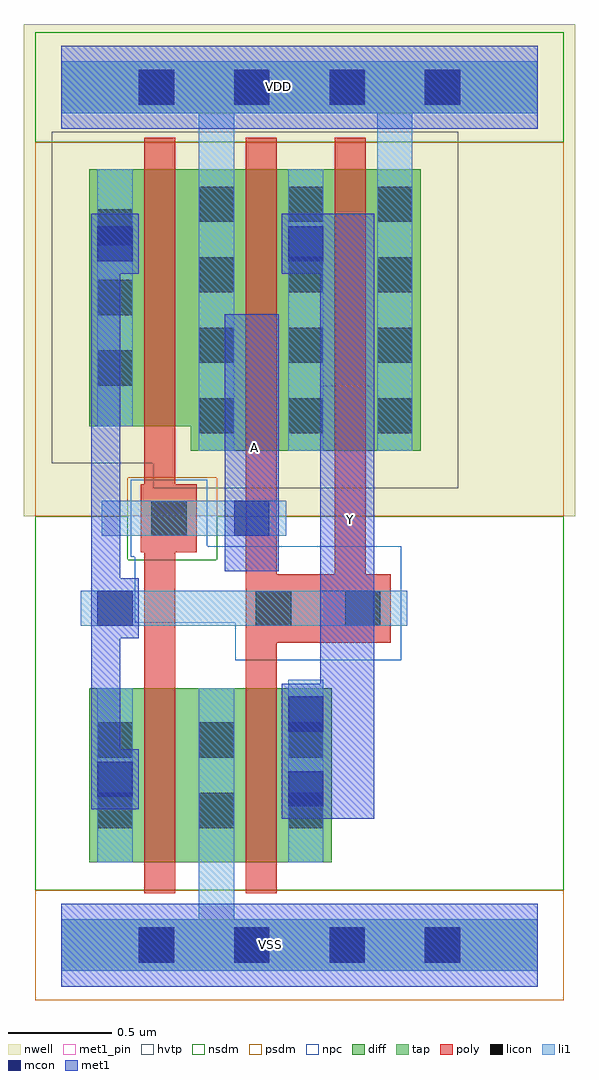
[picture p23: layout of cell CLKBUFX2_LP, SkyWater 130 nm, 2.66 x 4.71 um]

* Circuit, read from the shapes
.subckt CLKBUFX2_LP A VDD VSS Y
XM1 VSS A n1 VSS sky130_fd_pr__nfet_01v8 w=0.84 l=0.15
XM2 Y n1 VSS VSS sky130_fd_pr__nfet_01v8 w=0.84 l=0.15
XM3 VDD A n1 VDD sky130_fd_pr__pfet_01v8_hvt w=1.24 l=0.15
XM4 Y n1 VDD VDD sky130_fd_pr__pfet_01v8_hvt w=1.36 l=0.15 m=2
.ends

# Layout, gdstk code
from math import pi, radians
import gdstk
lib = gdstk.Library(unit=1e-6, precision=1e-09)
def R(c, l, rs):  # rectangles x0, y0, x1, y1
    for r in rs: c.add(gdstk.rectangle(r[:2], r[2:], *l))
def A(c, l, x, y, w, h, nx, ny, dx, dy):  # array of equal rectangles
    R(c, l, [(x+i*dx, y+j*dy, x+i*dx+w, y+j*dy+h) for i in range(nx) for j in range(ny)])
def P(c, l, *ps):  # polygons
    for p in ps: c.add(gdstk.Polygon(p, *l))
nwell = (64, 20)
diff = (65, 20)
tap = (65, 44)
poly = (66, 20)
licon = (66, 44)
li1 = (67, 20)
mcon = (67, 44)
met1_pin = (68, 16)
met1 = (68, 20)
hvtp = (78, 44)
nsdm = (93, 44)
psdm = (94, 20)
npc = (95, 20)

pyl1con_c_cdns_750721840 = lib.new_cell('PYL1CON_C_CDNS_750721840972')
R(pyl1con_c_cdns_750721840, poly, [(-0.135,-0.165,0.135,0.165)])
R(pyl1con_c_cdns_750721840, licon, [(-0.085,-0.085,0.085,0.085)])
R(pyl1con_c_cdns_750721840, npc, [(-0.185,-0.185,0.185,0.185)])

l1m1_c_cdns_750721840975 = lib.new_cell('L1M1_C_CDNS_750721840975')
R(l1m1_c_cdns_750721840975, li1, [(-0.085,-0.345,0.085,0.345)])
R(l1m1_c_cdns_750721840975, mcon, [(-0.085,-0.265,0.085,-0.095), (-0.085,0.095,0.085,0.265)])
R(l1m1_c_cdns_750721840975, met1, [(-0.115,-0.325,0.115,0.325)])

l1m1_c_cdns_750721840971 = lib.new_cell('L1M1_C_CDNS_750721840971')
R(l1m1_c_cdns_750721840971, li1, [(-0.085,-0.165,0.085,0.165)])
R(l1m1_c_cdns_750721840971, mcon, [(-0.085,-0.085,0.085,0.085)])
R(l1m1_c_cdns_750721840971, met1, [(-0.115,-0.145,0.115,0.145)])

l1m1_c_cdns_750721840973 = lib.new_cell('L1M1_C_CDNS_750721840973')
R(l1m1_c_cdns_750721840973, li1, [(-0.165,-0.085,0.165,0.085)])
R(l1m1_c_cdns_750721840973, mcon, [(-0.085,-0.085,0.085,0.085)])
R(l1m1_c_cdns_750721840973, met1, [(-0.115,-0.145,0.115,0.145)])

c_l1m1_c_cdns_750721840971 = lib.new_cell('L1M1_C_CDNS_7507218409714')
R(c_l1m1_c_cdns_750721840971, li1, [(-0.115,-0.165,0.055,0.165)])
R(c_l1m1_c_cdns_750721840971, mcon, [(-0.115,-0.085,0.055,0.085)])
R(c_l1m1_c_cdns_750721840971, met1, [(-0.145,-0.145,0.085,0.145)])

clkbufx2_lp = lib.new_cell('CLKBUFX2_LP')
R(clkbufx2_lp, nwell, [(-0.18,2.07,2.48,4.305), (0.445,2.205,1.915,3.925), (-0.045,2.325,0.805,3.925), (-0.18,3.875,2.48,4.445)])
R(clkbufx2_lp, diff, [(0.135,0.4,0.4,1.24), (0.4,0.4,0.55,1.24), (0.55,0.4,0.625,1.24), (0.625,0.4,0.89,1.24), (0.89,0.4,1.04,1.24), (1.04,0.4,1.305,1.24), (0.625,2.385,0.89,3.745), (0.89,2.385,1.04,3.745), (1.04,2.385,1.32,3.745), (1.32,2.385,1.47,3.745), (1.47,2.385,1.735,3.745), (0.135,2.505,0.4,3.745), (0.4,2.505,0.55,3.745), (0.55,2.505,0.625,3.745)])
R(clkbufx2_lp, poly, [(0.4,0.25,0.55,0.305), (0.89,0.25,1.04,0.305), (0.4,0.305,0.55,0.4), (0.89,0.305,1.04,0.4), (0.4,0.4,0.55,1.24), (0.89,0.4,1.04,1.24), (0.89,1.46,1.59,1.79), (0.89,2.235,1.04,2.29), (1.32,2.235,1.47,2.29), (0.89,2.29,1.04,2.385), (1.32,2.29,1.47,2.385), (0.4,2.355,0.55,2.41), (0.89,2.385,1.04,3.745), (1.32,2.385,1.47,3.745), (0.4,2.41,0.55,2.505), (0.4,2.505,0.55,3.745), (0.4,3.745,0.55,3.84), (0.89,3.745,1.04,3.84), (1.32,3.745,1.47,3.84), (0.4,3.84,0.55,3.895), (0.89,3.84,1.04,3.895), (1.32,3.84,1.47,3.895)])
A(clkbufx2_lp, licon, 0.665, 2.47, 0.17, 0.17, 3, 4, 0.43, 0.34)
A(clkbufx2_lp, licon, 0.175, 2.7, 0.17, 0.17, 1, 3, 0, 0.34)
R(clkbufx2_lp, licon, [(0.375,-0.085,0.545,0.085), (0.375,-0.085,0.545,0.085), (0.835,-0.085,1.005,0.085), (0.835,-0.085,1.005,0.085), (1.295,-0.085,1.465,0.085), (1.295,-0.085,1.465,0.085), (1.755,-0.085,1.925,0.085), (1.755,-0.085,1.925,0.085), (0.175,0.565,0.345,0.735), (0.665,0.565,0.835,0.735), (1.095,0.565,1.265,0.735), (0.175,0.905,0.345,1.075), (0.665,0.905,0.835,1.075), (1.095,0.905,1.265,1.075), (0.375,4.055,0.545,4.225), (0.375,4.055,0.545,4.225), (0.835,4.055,1.005,4.225), (0.835,4.055,1.005,4.225), (1.295,4.055,1.465,4.225), (1.295,4.055,1.465,4.225), (1.755,4.055,1.925,4.225), (1.755,4.055,1.925,4.225)])
A(clkbufx2_lp, li1, 0.665, 2.385, 0.17, 1.36, 3, 1, 0.43, 0)
R(clkbufx2_lp, li1, [(0.175,0.4,0.345,1.24), (0.665,0.4,0.835,1.24), (1.095,0.4,1.265,1.24), (0.175,2.505,0.345,3.745)])
R(clkbufx2_lp, mcon, [(0.375,-0.085,0.545,0.085), (0.375,-0.085,0.545,0.085), (0.835,-0.085,1.005,0.085), (0.835,-0.085,1.005,0.085), (1.295,-0.085,1.465,0.085), (1.295,-0.085,1.465,0.085), (1.755,-0.085,1.925,0.085), (1.755,-0.085,1.925,0.085), (0.375,4.055,0.545,4.225), (0.375,4.055,0.545,4.225), (0.835,4.055,1.005,4.225), (0.835,4.055,1.005,4.225), (1.295,4.055,1.465,4.225), (1.295,4.055,1.465,4.225), (1.755,4.055,1.925,4.225), (1.755,4.055,1.925,4.225)])
R(clkbufx2_lp, met1_pin, [(1.25,1.46,1.51,2.7), (0.79,1.805,1.05,3.045)])
R(clkbufx2_lp, hvtp, [(0.445,2.205,1.915,3.925), (-0.045,2.325,0.805,3.925)])
R(clkbufx2_lp, nsdm, [(-0.005,0.27,0.505,1.37), (0.485,0.27,1.445,1.37), (-0.125,3.875,2.425,4.405), (-0.125,3.875,2.425,4.405), (-0.125,3.93,2.425,4.35), (-0.125,3.93,2.425,4.35)])
P(clkbufx2_lp, nsdm, [(2.425,2.07),(0.75,2.07),(0.75,1.86),(0.32,1.86),(0.32,2.07),(-0.125,2.07),(-0.125,0.265),(2.425,0.265)])
R(clkbufx2_lp, psdm, [(-0.125,-0.265,2.425,0.265), (-0.125,-0.21,2.425,0.21), (0.485,2.255,1.875,3.875), (-0.005,2.375,0.505,3.875)])
P(clkbufx2_lp, psdm, [(2.425,3.875),(-0.125,3.875),(-0.125,2.07),(0.32,2.07),(0.32,2.255),(0.75,2.255),(0.75,2.07),(2.425,2.07)])
R(clkbufx2_lp, npc, [(0.84,1.375,1.64,1.925), (0.355,1.555,1.64,1.925)])
clkbufx2_lp.add(gdstk.FlexPath([(0.475,2.775),(0.475,1.165)], 0.15, ends="flush", simple_path=True, layer=66, datatype=20))  # poly
clkbufx2_lp.add(gdstk.FlexPath([(1.395,2.235),(1.395,1.46)], 0.15, ends="flush", simple_path=True, layer=66, datatype=20))  # poly
clkbufx2_lp.add(gdstk.FlexPath([(0.965,2.235),(0.965,1.24)], 0.15, ends="flush", simple_path=True, layer=66, datatype=20))  # poly
clkbufx2_lp.add(gdstk.FlexPath([(2.215,0),(0,0)], 0.25, ends=(0.085, 0), simple_path=True, layer=67, datatype=20))  # li1
clkbufx2_lp.add(gdstk.FlexPath([(2.215,0),(0,0)], 0.25, ends=(0.085, 0), simple_path=True, layer=67, datatype=20))  # li1
clkbufx2_lp.add(gdstk.FlexPath([(2.215,4.14),(0,4.14)], 0.25, ends=(0.085, 0), simple_path=True, layer=67, datatype=20))  # li1
clkbufx2_lp.add(gdstk.FlexPath([(0.92,2.06),(0.195,2.06)], 0.17, ends="flush", simple_path=True, layer=67, datatype=20))  # li1
clkbufx2_lp.add(gdstk.FlexPath([(0.75,0.59),(0.75,0)], 0.17, ends="flush", simple_path=True, layer=67, datatype=20))  # li1
clkbufx2_lp.add(gdstk.FlexPath([(1.61,3.55),(1.61,4.14)], 0.17, ends=(0, 0.085), simple_path=True, layer=67, datatype=20))  # li1
clkbufx2_lp.add(gdstk.FlexPath([(2.215,4.14),(0,4.14)], 0.25, ends=(0.085, 0), simple_path=True, layer=67, datatype=20))  # li1
clkbufx2_lp.add(gdstk.FlexPath([(0.75,3.55),(0.75,4.14)], 0.17, ends="flush", simple_path=True, layer=67, datatype=20))  # li1
clkbufx2_lp.add(gdstk.FlexPath([(0.305,1.625),(1.67,1.625)], 0.17, ends="flush", simple_path=True, layer=67, datatype=20))  # li1
clkbufx2_lp.add(gdstk.FlexPath([(0,0),(2.3,0)], 0.4, ends="flush", simple_path=True, layer=68, datatype=20))  # met1
clkbufx2_lp.add(gdstk.FlexPath([(0.92,1.805),(0.92,3.045)], 0.26, ends="flush", simple_path=True, layer=68, datatype=20))  # met1
clkbufx2_lp.add(gdstk.FlexPath([(1.38,0.61),(1.38,3.53)], 0.26, ends="flush", simple_path=True, layer=68, datatype=20))  # met1
clkbufx2_lp.add(gdstk.FlexPath([(0.215,0.8),(0.23,0.8)], 0.14, ends=(0.07, 0), simple_path=True, layer=68, datatype=20))  # met1
clkbufx2_lp.add(gdstk.FlexPath([(0.215,3.46),(0.215,0.8)], 0.14, ends="extended", simple_path=True, layer=68, datatype=20))  # met1
clkbufx2_lp.add(gdstk.FlexPath([(1.38,2.225),(1.38,2.185)], 0.26, ends="flush", simple_path=True, layer=68, datatype=20))  # met1
clkbufx2_lp.add(gdstk.FlexPath([(0,4.14),(2.3,4.14)], 0.4, ends="flush", simple_path=True, layer=68, datatype=20))  # met1
clkbufx2_lp.add(gdstk.FlexPath([(0,4.14),(2.3,4.14)], 0.25, ends="flush", simple_path=True, layer=65, datatype=44))  # tap
clkbufx2_lp.add(gdstk.FlexPath([(0,4.14),(2.3,4.14)], 0.25, ends="flush", simple_path=True, layer=65, datatype=44))  # tap
clkbufx2_lp.add(gdstk.FlexPath([(0,0),(2.3,0)], 0.25, ends="flush", simple_path=True, layer=65, datatype=44))  # tap
clkbufx2_lp.add(gdstk.FlexPath([(0,0),(2.3,0)], 0.25, ends="flush", simple_path=True, layer=65, datatype=44))  # tap
clkbufx2_lp.add(gdstk.FlexPath([(0,0),(2.3,0)], 0.4, ends="flush", simple_path=True, layer=68, datatype=16))  # met1_pin
clkbufx2_lp.add(gdstk.FlexPath([(0,4.14),(2.3,4.14)], 0.4, ends="flush", simple_path=True, layer=68, datatype=16))  # met1_pin
clkbufx2_lp.add(gdstk.FlexPath([(0,0),(2.3,0)], 0.4, ends="flush", simple_path=True, layer=68, datatype=16))  # met1_pin
clkbufx2_lp.add(gdstk.FlexPath([(0,4.14),(2.3,4.14)], 0.4, ends="flush", simple_path=True, layer=68, datatype=16))  # met1_pin
clkbufx2_lp.add(gdstk.Reference(pyl1con_c_cdns_750721840, (1.025,1.625), rotation=pi))
clkbufx2_lp.add(gdstk.Reference(pyl1con_c_cdns_750721840, (0.52,2.06), x_reflection=True))
clkbufx2_lp.add(gdstk.Reference(pyl1con_c_cdns_750721840, (1.455,1.625), rotation=pi))
clkbufx2_lp.add(gdstk.Reference(l1m1_c_cdns_750721840975, (1.18,0.935)))
clkbufx2_lp.add(gdstk.Reference(l1m1_c_cdns_750721840971, (0.26,3.385), rotation=pi, x_reflection=True))
clkbufx2_lp.add(gdstk.Reference(l1m1_c_cdns_750721840971, (1.18,3.385)))
clkbufx2_lp.add(gdstk.Reference(l1m1_c_cdns_750721840973, (0.26,1.625)))
clkbufx2_lp.add(gdstk.Reference(l1m1_c_cdns_750721840973, (0.92,2.06), x_reflection=True))
clkbufx2_lp.add(gdstk.Reference(c_l1m1_c_cdns_750721840971, (0.23,0.8), rotation=pi, x_reflection=True))
clkbufx2_lp.add(gdstk.Label('Y', (1.395,2.055), layer=68, texttype=5))
clkbufx2_lp.add(gdstk.Label('A', (0.935,2.4), layer=68, texttype=5))
clkbufx2_lp.add(gdstk.Label('VDD', (1.05,4.145), layer=68, texttype=5))
clkbufx2_lp.add(gdstk.Label('VSS', (1.01,0.005), layer=68, texttype=5))

lib.write_gds('CLKBUFX2_LP.gds')
